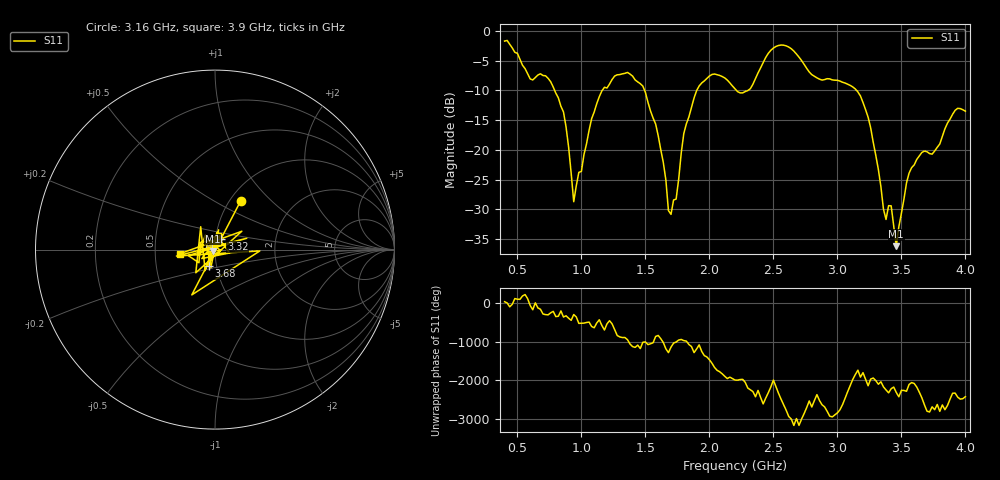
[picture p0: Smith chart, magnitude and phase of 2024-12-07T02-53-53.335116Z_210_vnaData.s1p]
!Created with skrf (http://scikit-rf.org).
# Hz S RI R 50.0
!freq ReS11 ImS11
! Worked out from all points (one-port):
!   181 points, 400 MHz to 4 GHz, reference 50 ohm
!   lowest |S11| = -36.2 dB at 3.46 GHz (marker M1), VSWR 1.03, Z = 48.6 - j0.691 ohm
!   |S11| at or under -10 dB: 790.8 MHz to 1.163 GHz (372.4 MHz wide, 38.1 % of centre); 1.494 GHz to 1.901 GHz (407.8 MHz wide, 24 % of centre); 3.149 GHz to end of sweep (the widest 3 of 4)
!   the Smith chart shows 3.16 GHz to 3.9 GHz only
!   S11 on the Smith chart (normalised r, x): 3.16 GHz: 1.12, +0.67; 3.32 GHz: 1.07, +0.13; 3.68 GHz: 0.92, -0.17; 3.9 GHz: 0.67, -0.03
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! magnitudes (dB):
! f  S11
! 400 MHz  -1.7
! 600 MHz  -8.1
! 740 MHz  -8.0
! 860 MHz  -13.6
! 940 MHz  -28.7
! 1.12 GHz  -12.2
! 1.3 GHz  -7.4
! 1.5 GHz  -10.3
! 1.6 GHz  -17.6
! 1.68 GHz  -30.2
! 1.76 GHz  -24.9
! 1.8 GHz  -17.3
! 1.92 GHz  -9.3
! 2.2 GHz  -9.8
! 2.32 GHz  -9.7
! 2.5 GHz  -2.9
! 2.66 GHz  -3.4
! 3.1 GHz  -9.2
! 3.16 GHz  -10.3
! 3.24 GHz  -14.5
! 3.32 GHz  -23.3
! 3.38 GHz  -31.7
! 3.42 GHz  -29.4
! 3.46 GHz  -36.2
! 3.56 GHz  -23.9
! 3.68 GHz  -20.2
! 3.9 GHz  -14.0
! 4 GHz  -13.5
